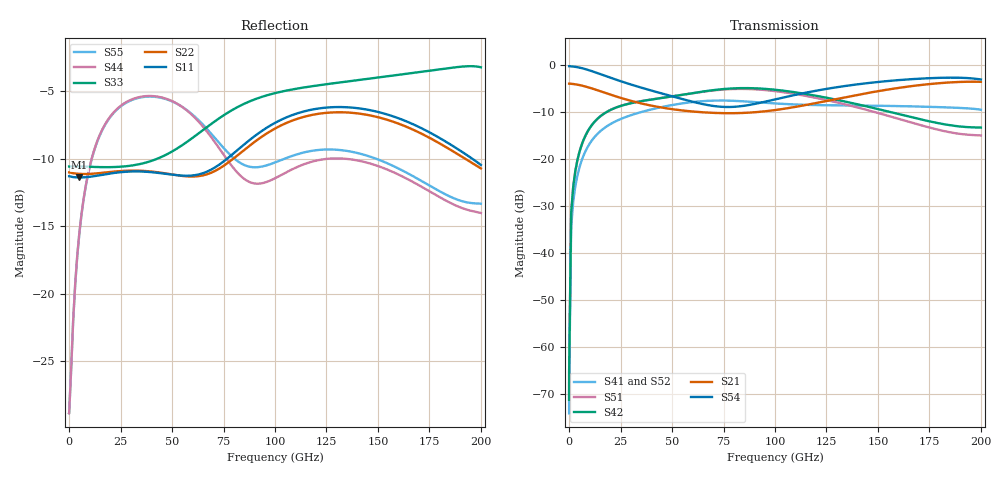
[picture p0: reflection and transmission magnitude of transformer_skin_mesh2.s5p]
! Created with skrf 2.2.0 (http://scikit-rf.org).
# GHz S DB R 50.0
! Port[1] = P1
! Port[2] = P2
! Port[3] = P3
! Port[4] = P4
! Port[5] = P5
!freq dBS11 angS11 dBS12 angS12 dBS13 angS13
! dBS14 angS14 dBS15 angS15
! dBS21 angS21 dBS22 angS22 dBS23 angS23
! dBS24 angS24 dBS25 angS25
! dBS31 angS31 dBS32 angS32 dBS33 angS33
! dBS34 angS34 dBS35 angS35
! dBS41 angS41 dBS42 angS42 dBS43 angS43
! dBS44 angS44 dBS45 angS45
! dBS51 angS51 dBS52 angS52 dBS53 angS53
! dBS54 angS54 dBS55 angS55
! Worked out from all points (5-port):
!   202 points, 10 MHz to 200 GHz, reference 50 ohm
!   strongest paths, dB at 10 MHz, 49 GHz, 100 GHz, 150 GHz, 200 GHz:
!     S54: -0.3, -6.6, -7.4, -3.7, -3.1
!     S21: -4.0, -9.4, -9.6, -5.6, -3.6
!     S42: -71.2, -6.8, -5.3, -9.4, -13.4
!     S51: -71.2, -6.8, -5.6, -10.3, -15.0
!     S41: -74.1, -8.7, -8.2, -8.7, -9.6
!     S52: -74.0, -8.7, -8.3, -8.9, -9.8
!   lowest |S11| = -11.4 dB at 5 GHz (marker M1), VSWR 1.74, Z = 30.1 + j8.68 ohm
!   |S11| at or under -10 dB: start of sweep to 76.74 GHz; 195.8 GHz to end of sweep
